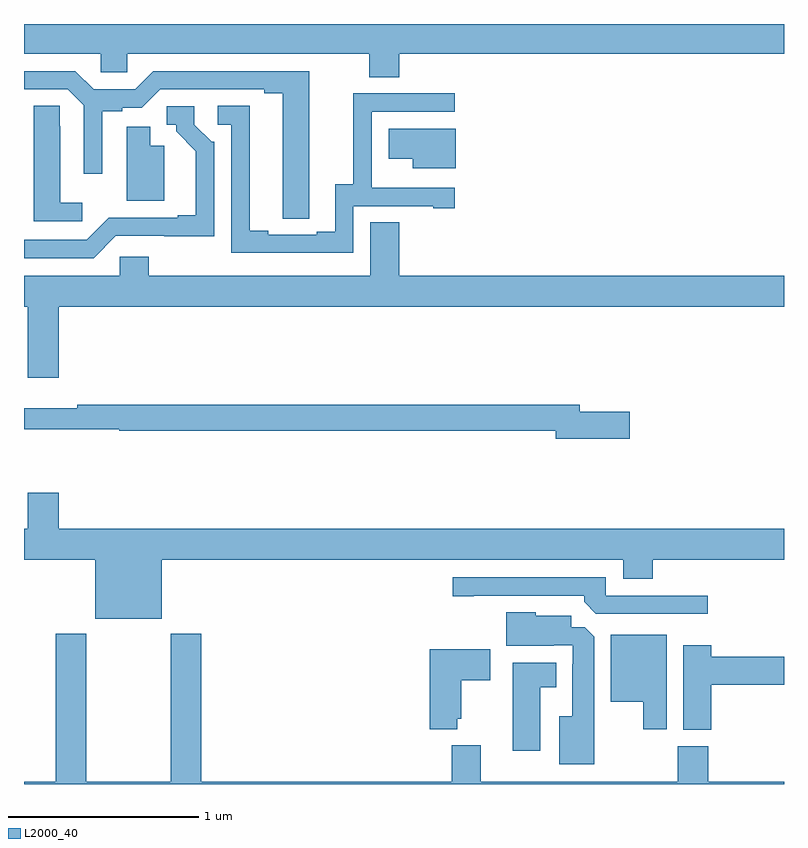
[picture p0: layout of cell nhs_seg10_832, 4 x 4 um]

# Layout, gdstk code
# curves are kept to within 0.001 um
import gdstk
lib = gdstk.Library(unit=1e-6, precision=1e-09)
def P(c, l, *ps):  # polygons
    for p in ps: c.add(gdstk.Polygon(p, *l))
L2000_40 = (2000, 40)

nhs_seg10_832 = lib.new_cell('nhs_seg10_832')
P(nhs_seg10_832, L2000_40, [(154.976,1272.344),(157,1272.344),(157,1272.5),(153,1272.5),(153,1272.344),(153.405,1272.344),(153.405,1272.246),(153.543,1272.246),(153.543,1272.344),(154.816,1272.344),(154.816,1272.22),(154.976,1272.22)],
  [(154.5,1271.584),(154.501,1272.252),(153.681,1272.252),(153.585,1272.156),(153.367,1272.156),(153.271,1272.252),(153,1272.252),(153,1272.156),(153.231,1272.156),(153.315,1272.072),(153.315,1271.712),(153.412,1271.712),(153.412,1272.04),(153.516,1272.04),(153.516,1272.06),(153.621,1272.06),(153.717,1272.156),(154.265,1272.156),(154.265,1272.136),(154.361,1272.136),(154.361,1271.476),(154.5,1271.476)],
  [(154.734,1271.541),(155.153,1271.541),(155.153,1271.529),(155.266,1271.529),(155.266,1271.637),(154.832,1271.637),(154.832,1271.638),(154.83,1271.638),(154.83,1272.039),(155.266,1272.039),(155.266,1272.135),(154.732,1272.135),(154.732,1271.657),(154.637,1271.657),(154.637,1271.406),(154.541,1271.406),(154.541,1271.391),(154.285,1271.391),(154.285,1271.411),(154.189,1271.411),(154.189,1272.071),(154.02,1272.071),(154.02,1271.97),(154.092,1271.97),(154.092,1271.295),(154.734,1271.295)],
  [(153.307,1271.56),(153.19,1271.56),(153.19,1271.963),(153.189,1271.963),(153.189,1272.071),(153.05,1272.071),(153.05,1271.463),(153.307,1271.463)],
  [(153.483,1271.385),(154.002,1271.384),(154.002,1271.88),(153.987,1271.88),(153.897,1271.97),(153.897,1272.066),(153.75,1272.066),(153.75,1271.97),(153.8,1271.97),(153.8,1271.935),(153.905,1271.83),(153.905,1271.494),(153.809,1271.494),(153.809,1271.481),(153.447,1271.481),(153.33,1271.364),(153,1271.364),(153,1271.268),(153.366,1271.268)],
  [(153.739,1271.86),(153.664,1271.86),(153.664,1271.959),(153.542,1271.959),(153.542,1271.57),(153.739,1271.57)],
  [(155.272,1271.95),(154.92,1271.95),(154.92,1271.792),(155.045,1271.792),(155.045,1271.741),(155.272,1271.741)],
  [(153.184,1271.012),(157,1271.012),(157,1271.176),(154.976,1271.176),(154.976,1271.456),(154.823,1271.456),(154.823,1271.176),(153.656,1271.176),(153.656,1271.274),(153.504,1271.274),(153.504,1271.176),(153,1271.176),(153,1271.012),(153.02,1271.012),(153.02,1270.638),(153.184,1270.638)],
  [(156.187,1270.46),(155.926,1270.46),(155.926,1270.496),(153.28,1270.496),(153.28,1270.477),(153,1270.477),(153,1270.368),(153.502,1270.368),(153.502,1270.36),(155.798,1270.36),(155.798,1270.318),(156.187,1270.318)],
  [(153.724,1269.68),(156.155,1269.68),(156.155,1269.581),(156.308,1269.581),(156.308,1269.68),(157,1269.68),(157,1269.844),(153.184,1269.844),(153.184,1270.033),(153.02,1270.033),(153.02,1269.844),(153,1269.844),(153,1269.68),(153.374,1269.68),(153.374,1269.371),(153.724,1269.371)],
  [(156.598,1269.492),(156.063,1269.492),(156.063,1269.588),(155.256,1269.588),(155.256,1269.487),(155.368,1269.487),(155.368,1269.492),(155.948,1269.492),(155.948,1269.458),(156.009,1269.396),(156.598,1269.396)],
  [(156.001,1269.275),(155.952,1269.324),(155.881,1269.324),(155.881,1269.385),(155.694,1269.385),(155.694,1269.403),(155.537,1269.403),(155.537,1269.227),(155.789,1269.227),(155.789,1269.231),(155.889,1269.231),(155.889,1269.131),(155.885,1269.131),(155.885,1268.857),(155.816,1268.857),(155.816,1268.603),(156.001,1268.603)],
  [(157,1268.512),(156.602,1268.512),(156.602,1268.7),(156.442,1268.7),(156.442,1268.512),(155.404,1268.512),(155.404,1268.704),(155.252,1268.704),(155.252,1268.512),(153.932,1268.512),(153.932,1269.292),(153.772,1269.292),(153.772,1268.512),(153.327,1268.512),(153.327,1269.292),(153.167,1269.292),(153.167,1268.512),(153,1268.512),(153,1268.5),(157,1268.5)],
  [(156.382,1269.286),(156.089,1269.286),(156.089,1268.933),(156.26,1268.933),(156.26,1268.787),(156.382,1268.787)],
  [(156.617,1269.023),(157,1269.023),(157,1269.17),(156.617,1269.17),(156.617,1269.229),(156.47,1269.229),(156.47,1268.785),(156.617,1268.785)],
  [(155.28,1268.843),(155.302,1268.843),(155.302,1269.046),(155.455,1269.046),(155.455,1269.208),(155.135,1269.208),(155.135,1268.789),(155.28,1268.789)],
  [(155.716,1269.008),(155.8,1269.008),(155.8,1269.139),(155.573,1269.139),(155.573,1268.676),(155.716,1268.676)])

lib.write_gds('nhs_seg10_832.gds')
